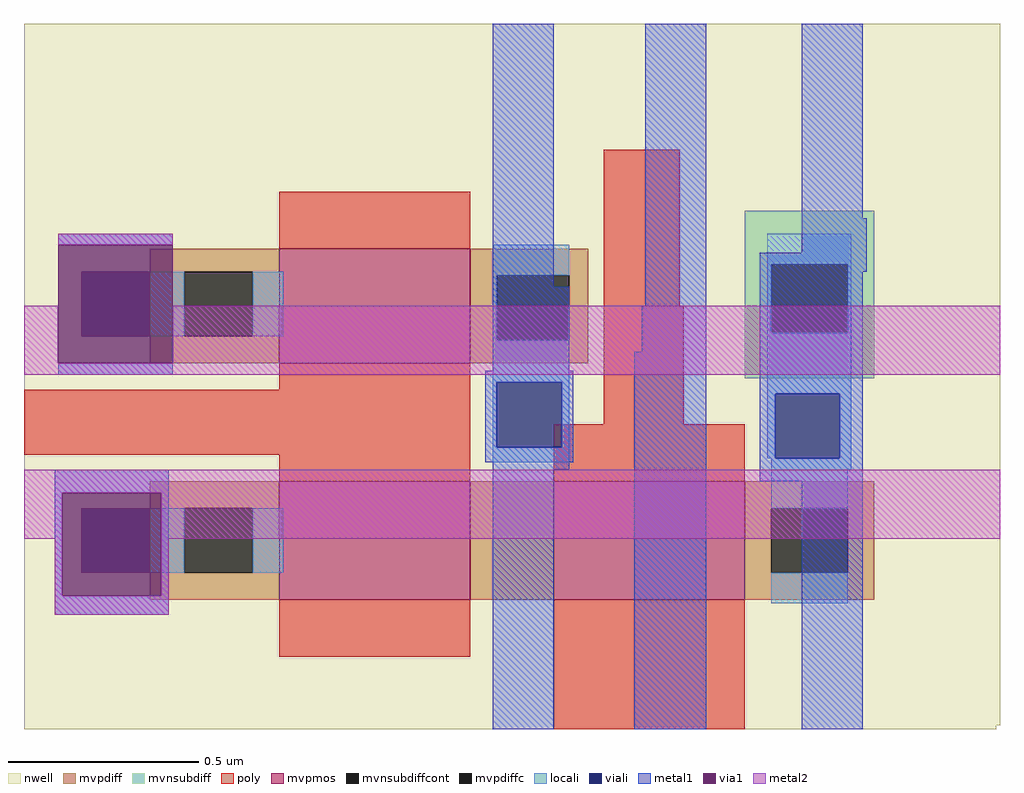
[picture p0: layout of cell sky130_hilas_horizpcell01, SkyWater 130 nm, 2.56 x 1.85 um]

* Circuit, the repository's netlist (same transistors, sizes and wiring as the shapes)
* Copyright 2020 The Hilas PDK Authors
* 
* This file is part of HILAS.
* 
* HILAS is free software: you can redistribute it and/or modify
* it under the terms of the GNU Lesser General Public License as published by
* the Free Software Foundation, version 3 of the License.
* 
* HILAS is distributed in the hope that it will be useful,
* but WITHOUT ANY WARRANTY; without even the implied warranty of
* MERCHANTABILITY or FITNESS FOR A PARTICULAR PURPOSE.  See the
* GNU Lesser General Public License for more details.
* 
* You should have received a copy of the GNU Lesser General Public License
* along with HILAS.  If not, see <https://www.gnu.org/licenses/>.
* 
* Licensed under the Lesser General Public License, Version 3.0 (the "License");
* you may not use this file except in compliance with the License.
* You may obtain a copy of the License at
* 
* https://www.gnu.org/licenses/lgpl-3.0.en.html
* 
* Unless required by applicable law or agreed to in writing, software
* distributed under the License is distributed on an "AS IS" BASIS,
* WITHOUT WARRANTIES OR CONDITIONS OF ANY KIND, either express or implied.
* See the License for the specific language governing permissions and
* limitations under the License.
* 
* SPDX-License-Identifier: LGPL-3.0
* 
* 

* NGSPICE file created from sky130_hilas_horizPcell01.ext - technology: sky130A


* Top level circuit sky130_hilas_horizPcell01

X0 w_n578_94# a_n300_94# a_n344_162# w_n578_94# sky130_fd_pr__pfet_g5v0d10v5 w=310000u l=500000u
X1 a_n344_286# a_n578_238# a_n502_286# w_n578_94# sky130_fd_pr__pfet_g5v0d10v5 w=300000u l=500000u
X2 a_n344_162# a_n578_238# a_n508_162# w_n578_94# sky130_fd_pr__pfet_g5v0d10v5 w=310000u l=500000u
.end

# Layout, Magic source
magic
tech sky130A
<< nwell >>
rect -289 48 -33 232
rect -289 47 -34 48
<< mvpmos >>
rect -222 143 -172 173
rect -222 81 -172 112
rect -150 81 -100 112
<< mvpdiff >>
rect -256 167 -222 173
rect -256 150 -247 167
rect -229 150 -222 167
rect -256 143 -222 150
rect -172 166 -141 173
rect -172 149 -165 166
rect -146 149 -141 166
rect -172 143 -141 149
rect -256 105 -222 112
rect -256 88 -247 105
rect -229 88 -222 105
rect -256 81 -222 88
rect -172 81 -150 112
rect -100 105 -66 112
rect -100 88 -93 105
rect -73 88 -66 105
rect -100 81 -66 88
<< mvpdiffc >>
rect -247 150 -229 167
rect -165 149 -146 166
rect -247 88 -229 105
rect -93 88 -73 105
<< mvnsubdiff >>
rect -100 169 -66 183
rect -100 151 -93 169
rect -73 151 -66 169
rect -100 139 -66 151
<< mvnsubdiffcont >>
rect -93 151 -73 169
<< poly >>
rect -222 173 -172 188
rect -137 158 -117 199
rect -222 136 -172 143
rect -289 119 -172 136
rect -137 127 -116 158
rect -222 112 -172 119
rect -150 112 -100 127
rect -222 66 -172 81
rect -150 47 -100 81
<< locali >>
rect -256 150 -247 167
rect -229 150 -221 167
rect -166 166 -146 174
rect -166 149 -165 166
rect -166 138 -146 149
rect -166 121 -165 138
rect -148 121 -146 138
rect -166 117 -146 121
rect -94 169 -72 177
rect -94 151 -93 169
rect -73 151 -72 169
rect -94 135 -72 151
rect -94 118 -92 135
rect -75 118 -72 135
rect -93 115 -72 118
rect -93 105 -73 115
rect -256 88 -247 105
rect -229 88 -221 105
rect -93 80 -73 88
<< viali >>
rect -274 150 -256 167
rect -165 121 -148 138
rect -92 118 -75 135
rect -274 88 -256 105
<< metal1 >>
rect -280 174 -250 177
rect -280 140 -250 143
rect -166 163 -150 232
rect -166 141 -146 163
rect -126 158 -110 232
rect -85 181 -69 232
rect -85 172 -68 181
rect -127 146 -110 158
rect -168 138 -145 141
rect -168 121 -165 138
rect -148 121 -145 138
rect -168 117 -145 121
rect -166 115 -146 117
rect -281 109 -251 115
rect -281 82 -279 109
rect -253 82 -251 109
rect -281 77 -251 82
rect -166 47 -150 115
rect -129 47 -110 146
rect -96 167 -68 172
rect -96 135 -69 167
rect -96 118 -92 135
rect -75 118 -69 135
rect -96 112 -69 118
rect -85 47 -69 112
<< via1 >>
rect -280 167 -250 174
rect -280 150 -274 167
rect -274 150 -256 167
rect -256 150 -250 167
rect -280 143 -250 150
rect -279 105 -253 109
rect -279 88 -274 105
rect -274 88 -256 105
rect -256 88 -253 105
rect -279 82 -253 88
<< metal2 >>
rect -280 174 -250 177
rect -289 143 -280 158
rect -250 143 -33 158
rect -289 140 -33 143
rect -289 109 -33 115
rect -289 97 -279 109
rect -281 82 -279 97
rect -253 97 -33 109
rect -253 82 -251 97
rect -281 77 -251 82
<< end >>
